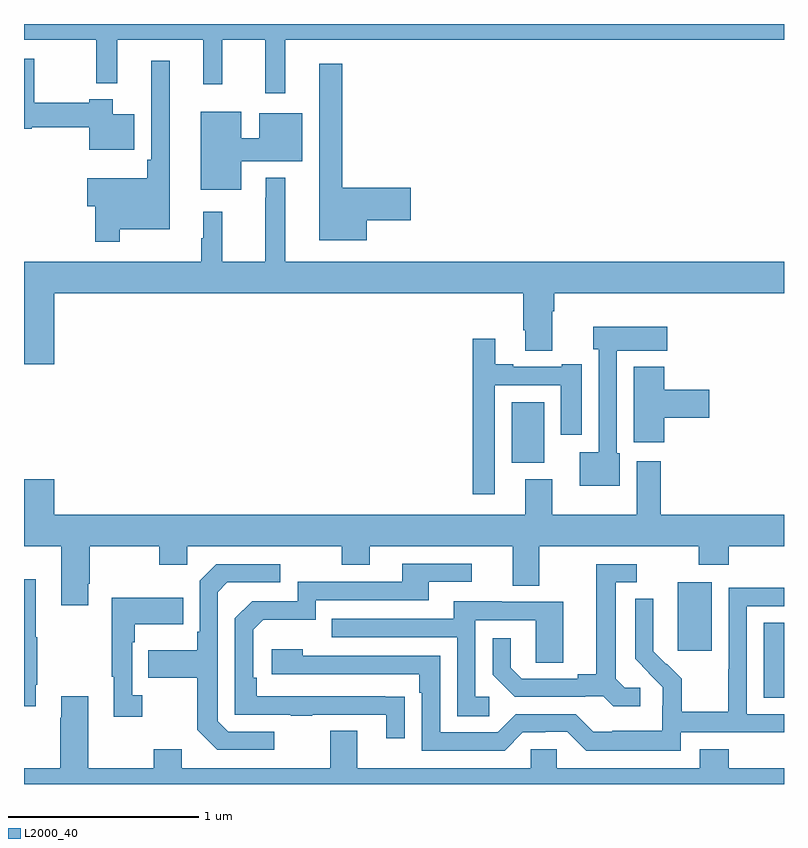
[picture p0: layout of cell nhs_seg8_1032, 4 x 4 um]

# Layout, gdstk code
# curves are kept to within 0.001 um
import gdstk
lib = gdstk.Library(unit=1e-6, precision=1e-09)
def R(c, l, rs):  # rectangles x0, y0, x1, y1
    for r in rs: c.add(gdstk.rectangle(r[:2], r[2:], *l))
def P(c, l, *ps):  # polygons
    for p in ps: c.add(gdstk.Polygon(p, *l))
L2000_40 = (2000, 40)

nhs_seg8_1032 = lib.new_cell('nhs_seg8_1032')
R(nhs_seg8_1032, L2000_40, [(180.893,1130.353,181,1130.75), (180.44,1130.601,180.619,1130.962), (179.567,1131.59,179.737,1131.91)])
P(nhs_seg8_1032, L2000_40, [(178.375,1133.816),(181,1133.816),(181,1133.9),(177,1133.9),(177,1133.816),(177.381,1133.816),(177.381,1133.588),(177.491,1133.588),(177.491,1133.816),(177.944,1133.816),(177.944,1133.583),(178.044,1133.583),(178.044,1133.816),(178.271,1133.816),(178.271,1133.535),(178.375,1133.535)],
  [(177.58,1133.425),(177.466,1133.425),(177.466,1133.503),(177.344,1133.503),(177.344,1133.485),(177.054,1133.485),(177.054,1133.716),(177,1133.716),(177,1133.348),(177.042,1133.348),(177.042,1133.356),(177.344,1133.356),(177.344,1133.237),(177.58,1133.237)],
  [(177.505,1132.82),(177.766,1132.82),(177.766,1133.707),(177.669,1133.707),(177.669,1133.185),(177.649,1133.185),(177.649,1133.089),(177.332,1133.089),(177.332,1132.942),(177.376,1132.942),(177.376,1132.755),(177.505,1132.755)],
  [(178.804,1132.868),(179.035,1132.868),(179.035,1133.039),(178.675,1133.039),(178.675,1133.692),(178.553,1133.692),(178.553,1132.763),(178.804,1132.763)],
  [(178.144,1133.177),(178.465,1133.177),(178.465,1133.431),(178.238,1133.431),(178.238,1133.3),(178.144,1133.3),(178.144,1133.437),(177.929,1133.437),(177.929,1133.027),(178.144,1133.027)],
  [(177.16,1132.484),(179.627,1132.484),(179.627,1132.288),(179.639,1132.288),(179.639,1132.18),(179.779,1132.18),(179.779,1132.388),(179.792,1132.388),(179.792,1132.484),(181,1132.484),(181,1132.648),(178.375,1132.648),(178.375,1133.092),(178.273,1133.092),(178.273,1132.985),(178.271,1132.985),(178.271,1132.648),(178.044,1132.648),(178.044,1132.912),(177.944,1132.912),(177.944,1132.772),(177.933,1132.772),(177.933,1132.648),(177,1132.648),(177,1132.11),(177.16,1132.11)],
  [(180.136,1131.642),(180.12,1131.642),(180.12,1132.181),(180.385,1132.181),(180.385,1132.306),(179.996,1132.306),(179.996,1132.188),(180.024,1132.188),(180.024,1131.646),(179.924,1131.646),(179.924,1131.47),(180.136,1131.47)],
  [(179.478,1131.999),(179.825,1131.999),(179.825,1131.738),(179.935,1131.738),(179.935,1132.108),(179.831,1132.108),(179.831,1132.095),(179.575,1132.095),(179.575,1132.108),(179.479,1132.108),(179.479,1132.243),(179.362,1132.243),(179.362,1131.426),(179.478,1131.426)],
  [(180.371,1131.827),(180.607,1131.827),(180.607,1131.974),(180.371,1131.974),(180.371,1132.096),(180.209,1132.096),(180.209,1131.699),(180.371,1131.699)],
  [(177.337,1130.953),(177.345,1130.953),(177.345,1131.152),(177.712,1131.152),(177.712,1131.053),(177.858,1131.053),(177.858,1131.152),(178.672,1131.152),(178.672,1131.053),(178.819,1131.053),(178.819,1131.152),(179.573,1131.152),(179.573,1130.944),(179.713,1130.944),(179.713,1131.152),(180.55,1131.152),(180.55,1131.053),(180.71,1131.053),(180.71,1131.152),(181,1131.152),(181,1131.316),(180.35,1131.316),(180.35,1131.598),(180.224,1131.598),(180.224,1131.316),(179.779,1131.316),(179.779,1131.505),(179.639,1131.505),(179.639,1131.316),(177.16,1131.316),(177.16,1131.505),(177,1131.505),(177,1131.152),(177.197,1131.152),(177.197,1130.841),(177.337,1130.841)],
  [(179.003,1130.36),(178.226,1130.361),(178.226,1130.458),(178.206,1130.458),(178.206,1130.712),(178.259,1130.765),(178.536,1130.765),(178.536,1130.868),(179.131,1130.868),(179.131,1130.964),(179.356,1130.964),(179.356,1131.06),(178.991,1131.06),(178.991,1130.964),(178.44,1130.964),(178.44,1130.862),(178.2,1130.862),(178.11,1130.772),(178.11,1130.265),(178.405,1130.265),(178.405,1130.26),(178.517,1130.26),(178.517,1130.265),(178.907,1130.265),(178.907,1130.142),(179.003,1130.142)],
  [(178.318,1130.175),(178.074,1130.175),(178.02,1130.229),(178.02,1130.91),(178.071,1130.961),(178.348,1130.961),(178.348,1131.057),(178.011,1131.057),(177.924,1130.97),(177.924,1130.701),(177.912,1130.701),(177.912,1130.605),(177.655,1130.605),(177.655,1130.458),(177.912,1130.458),(177.912,1130.185),(178.017,1130.079),(178.318,1130.079)],
  [(180.244,1130.406),(180.162,1130.406),(180.115,1130.453),(180.115,1130.961),(180.226,1130.961),(180.226,1131.057),(180.011,1131.057),(180.011,1130.477),(179.915,1130.477),(179.915,1130.454),(179.62,1130.454),(179.563,1130.511),(179.563,1130.668),(179.466,1130.668),(179.466,1130.474),(179.582,1130.358),(179.954,1130.358),(179.954,1130.361),(180.048,1130.361),(180.1,1130.309),(180.244,1130.309)],
  [(177.061,1130.422),(177.069,1130.422),(177.069,1130.673),(177.061,1130.673),(177.061,1130.977),(177,1130.977),(177,1130.31),(177.061,1130.31)],
  [(180.456,1130.172),(181,1130.172),(181,1130.268),(180.804,1130.268),(180.804,1130.835),(181,1130.835),(181,1130.934),(180.708,1130.934),(180.708,1130.504),(180.706,1130.504),(180.706,1130.281),(180.461,1130.281),(180.461,1130.455),(180.384,1130.532),(180.381,1130.529),(180.311,1130.6),(180.312,1130.876),(180.216,1130.876),(180.216,1130.558),(180.362,1130.41),(180.362,1130.313),(180.36,1130.313),(180.36,1130.179),(180.097,1130.179),(180.097,1130.175),(179.997,1130.175),(179.904,1130.268),(179.589,1130.268),(179.493,1130.172),(179.19,1130.172),(179.19,1130.574),(178.466,1130.574),(178.466,1130.608),(178.305,1130.608),(178.305,1130.478),(179.081,1130.478),(179.081,1130.381),(179.094,1130.381),(179.094,1130.076),(179.529,1130.076),(179.625,1130.172),(179.744,1130.172),(179.744,1130.175),(179.859,1130.175),(179.959,1130.075),(180.456,1130.075)],
  [(177.622,1130.366),(177.57,1130.366),(177.57,1130.645),(177.583,1130.645),(177.583,1130.741),(177.839,1130.741),(177.839,1130.881),(177.462,1130.881),(177.462,1130.465),(177.473,1130.465),(177.473,1130.253),(177.622,1130.253)],
  [(179.449,1130.358),(179.376,1130.358),(179.376,1130.763),(179.694,1130.763),(179.694,1130.539),(179.839,1130.539),(179.839,1130.859),(179.515,1130.859),(179.515,1130.863),(179.261,1130.863),(179.261,1130.769),(178.621,1130.769),(178.621,1130.673),(179.28,1130.673),(179.28,1130.257),(179.449,1130.257)],
  [(181,1129.984),(180.71,1129.984),(180.71,1130.083),(180.557,1130.083),(180.557,1129.984),(179.805,1129.984),(179.805,1130.082),(179.667,1130.082),(179.667,1129.984),(178.753,1129.984),(178.753,1130.179),(178.613,1130.179),(178.613,1129.984),(177.829,1129.984),(177.829,1130.083),(177.682,1130.083),(177.682,1129.984),(177.337,1129.984),(177.337,1130.362),(177.197,1130.362),(177.197,1130.249),(177.19,1130.249),(177.19,1129.984),(177,1129.984),(177,1129.9),(181,1129.9)])

lib.write_gds('nhs_seg8_1032.gds')
